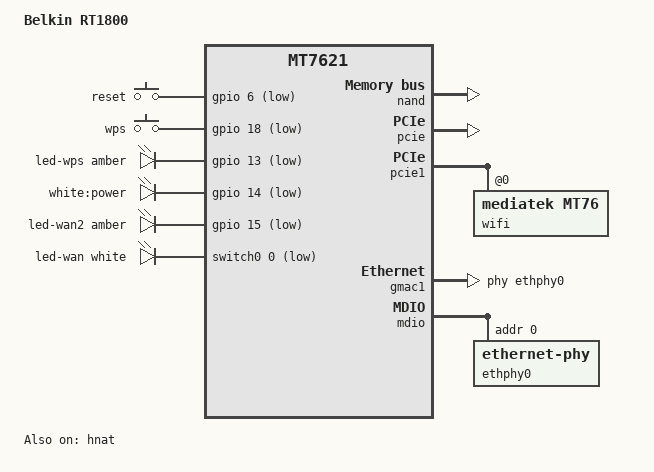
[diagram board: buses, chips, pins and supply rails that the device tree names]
// SPDX-License-Identifier: GPL-2.0-or-later OR MIT
/*  (C) 2024 Sean.Hung <https://github.com/seanhungtw/belkin_rt1800_openwrt>
		modify driver to use MTK original driver & HNAT, reference: https://github.com/padavanonly
*/

#include "mt7621.dtsi"

#include <dt-bindings/gpio/gpio.h>
#include <dt-bindings/input/input.h>
#include <dt-bindings/leds/common.h>

/ {
	compatible = "belkin,rt1800", "mediatek,mt7621-soc";
	model = "Belkin RT1800";

	aliases {
		led-boot = &led_power;
		led-failsafe = &led_power;
		led-running = &led_power;
		led-upgrade = &led_power;
	};

	chosen {
		bootargs = "console=ttyS0,115200";
	};

	keys {
		compatible = "gpio-keys";

		reset {
			label = "reset";
			gpios = <&gpio 6 GPIO_ACTIVE_LOW>;
			linux,code = <KEY_RESTART>;
		};

		wps {
			label = "wps";
			gpios = <&gpio 18 GPIO_ACTIVE_LOW>;
			linux,code = <KEY_WPS_BUTTON>;
		};
	};

	leds {
		compatible = "gpio-leds";

		led-wps {
			color = <LED_COLOR_ID_AMBER>;
			function = LED_FUNCTION_WPS;
			gpios = <&gpio 13 GPIO_ACTIVE_LOW>;
		};

		led_power: led-power {
			label = "white:power";
			gpios = <&gpio 14 GPIO_ACTIVE_LOW>;
			default-state = "on";
		};

		led-wan2 {
			color = <LED_COLOR_ID_AMBER>;
			function = LED_FUNCTION_WAN;
			gpios = <&gpio 15 GPIO_ACTIVE_LOW>;
		};

		led-wan {
			color = <LED_COLOR_ID_WHITE>;
			function = LED_FUNCTION_WAN;
			gpios = <&switch0 0 GPIO_ACTIVE_LOW>;
		};
	};
};

&nand {
	status = "okay";

	partitions {
		compatible = "fixed-partitions";
		#address-cells = <1>;
		#size-cells = <1>;

		partition@0 {
			label = "Boot";
			reg = <0x0 0x80000>;
			read-only;
		};

		partition@80000 {
			label = "Config";
			reg = <0x80000 0x80000>;
		};

		factory: partition@100000 {
			label = "Factory";
			reg = <0x100000 0x80000>;
			read-only;
		};

		partition@180000 {
			label = "firmware";
			reg = <0x180000 0x3000000>;

			compatible = "fixed-partitions";
			#address-cells = <1>;
			#size-cells = <1>;

			partition@0 {
				label = "kernel";
				reg = <0x0 0x400000>;
			};

			partition@400000 {
				label = "ubi";
				reg = <0x400000 0x2c00000>;
			};
		};

		partition@3180000 {
			label = "alt_firmware";
			reg = <0x3180000 0x3000000>;
			read-only;
		};

		partition@6180000 {
			label = "cbtinfo";
			reg = <0x6180000 0x80000>;
			read-only;
		};
		/* seems to be the end here. Can't read past 0x6200000 */
	};
};

&pcie {
	status = "okay";
};

&pcie1 {
	wifi@0,0 {
		compatible = "mediatek,mt76";
		reg = <0x0000 0 0 0 0>;
		mediatek,mtd-eeprom = <&factory 0x0000>;
	};
};

&state_default {
	gpio {
		groups = "i2c", "uart3", "jtag", "wdt";
		function = "gpio";
	};
};

&gmac1 {
	status = "okay";
	label = "wan";
	phy-handle = <&ethphy0>;
};

&hnat {
        mtketh-wan = "eth1";
        mtketh-ppd = "eth0";
        mtketh-lan = "eth0";
	ext-devices = "phy0-ap0", "phy1-ap0", "phy0-ap1", "phy1-ap1", "phy0-sta0", "phy1-sta0";
        mtketh-max-gmac = <2>;
        status = "okay";
};

&gsw {
	mediatek,mdio = <&mdio>;
	mediatek,portmap = "wllll";
	mediatek,mcm;
	mt7530,direct-phy-access;

	resets = <&rstctrl 2>;
	reset-names = "mcm";

	port5: port@5 {
		compatible = "mediatek,mt753x-port";
		reg = <5>;
		phy-mode = "rgmii";
		fixed-link {
			speed = <1000>;
			full-duplex;
		};
	};

	port6: port@6 {
		compatible = "mediatek,mt753x-port";
		reg = <6>;
		phy-mode = "rgmii";
		fixed-link {
			speed = <1000>;
			full-duplex;
		};
	};

	mdio-bus {
		#address-cells = <1>;
		#size-cells = <0>;
	};
};

&mdio {
	ethphy0: ethernet-phy@0 {
		reg = <0>;
	};
};

&switch0 {
	gpio-controller;
	#gpio-cells = <2>;
	/*
	ports {
		port@1 {
			status = "okay";
			label = "lan4";
		};

		port@2 {
			status = "okay";
			label = "lan3";
		};

		port@3 {
			status = "okay";
			label = "lan2";
		};

		port@4 {
			status = "okay";
			label = "lan1";
		};
	};
	*/
	/* must delete compatible property */
	/delete-property/ compatible;
};
